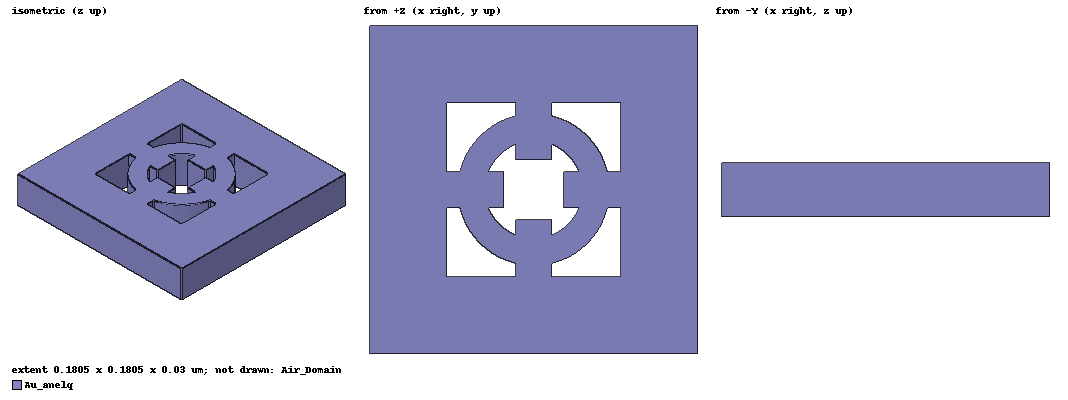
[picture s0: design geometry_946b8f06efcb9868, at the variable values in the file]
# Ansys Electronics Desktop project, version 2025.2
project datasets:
  $eps_Au: (150000000000000, -186.00089) (160000000000000, -163.14213) (170000000000000, -144.11224) (180000000000000, -128.10314) (190000000000000, -114.50826) (200000000000000, -102.86532) (210000000000000, -92.81718) (220000000000000, -84.084412) (230000000000000, -76.445944) (240000000000000, -69.725036) (250000000000000, -63.779041) (260000000000000, -58.491818) (270000000000000, -53.768037) (280000000000000, -49.528859) (290000000000000, -45.70863) (300000000000000, -42.252313) (310000000000000, -39.113494) (320000000000000, -36.252806) (330000000000000, -33.636677) (340000000000000, -31.236338) (350000000000000, -29.027017) (360000000000000, -26.987294) (370000000000000, -25.098569) (380000000000000, -23.344637) (390000000000000, -21.711335) (400000000000000, -20.186253) (410000000000000, -18.7585) (420000000000000, -17.418507) (430000000000000, -16.15788) (440000000000000, -14.969269) (450000000000000, -13.846276) (460000000000000, -12.78338) (470000000000000, -11.775891) (480000000000000, -10.819917) (490000000000000, -9.9123481) (500000000000000, -9.0508547) (510000000000000, -8.2338938) (520000000000000, -7.4607121) (530000000000000, -6.7313416) (540000000000000, -6.0465702) (550000000000000, -5.4078747) (560000000000000, -4.8172964) (570000000000000, -4.2772451) (580000000000000, -3.7902218) (590000000000000, -3.3584655) (600000000000000, -2.9835452) (610000000000000, -2.6659436) (620000000000000, -2.4046951) (630000000000000, -2.197152) (640000000000000, -2.0389375) (650000000000000, -1.9241177) (660000000000000, -1.8455774) (670000000000000, -1.7955412) (680000000000000, -1.7661513) (690000000000000, -1.7500089) (700000000000000, -1.7406041)
  $sig_Au: (150000000000000, 218667.41) (160000000000000, 192168.71) (170000000000000, 170065.67) (180000000000000, 151429.97) (190000000000000, 135565.31) (200000000000000, 121941.52) (210000000000000, 110149.55) (220000000000000, 99870.051) (230000000000000, 90851.031) (240000000000000, 82891.837) (250000000000000, 75831.402) (260000000000000, 69539.575) (270000000000000, 63910.635) (280000000000000, 58858.395) (290000000000000, 54312.48) (300000000000000, 50215.478) (310000000000000, 46520.747) (320000000000000, 43190.739) (330000000000000, 40195.708) (340000000000000, 37512.733) (350000000000000, 35124.989) (360000000000000, 33021.22) (370000000000000, 31195.388) (380000000000000, 29646.453) (390000000000000, 28378.283) (400000000000000, 27399.666) (410000000000000, 26724.406) (420000000000000, 26371.488) (430000000000000, 26365.297) (440000000000000, 26735.841) (450000000000000, 27518.962) (460000000000000, 28756.467) (470000000000000, 30496.106) (480000000000000, 32791.287) (490000000000000, 35700.421) (500000000000000, 39285.697) (510000000000000, 43611.125) (520000000000000, 48739.62) (530000000000000, 54728.934) (540000000000000, 61626.312) (550000000000000, 69461.861) (560000000000000, 78240.9) (570000000000000, 87935.844) (580000000000000, 98478.642) (590000000000000, 109755.15) (600000000000000, 121603.12) (610000000000000, 133815.27) (620000000000000, 146148.59) (630000000000000, 158339.66) (640000000000000, 170124.49) (650000000000000, 181260.31) (660000000000000, 191545.59) (670000000000000, 200835.19) (680000000000000, 209048.35) (690000000000000, 216168.82) (700000000000000, 222238.31)
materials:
  vacuum: permittivity=1
  Au_JC: permittivity="pwl($eps_Au, Freq)" permeability=1 conductivity="pwl($sig_Au, Freq)"
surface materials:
  Steel-oxidised-surface

design geometry_946b8f06efcb9868 (HFSS, HFSS Modal Network, model units um)
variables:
  theta_inc = 0deg
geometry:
  Au_anelq [Au_JC] = box(corner=(-0.090263016um, -0.090263016um, 0um), size=(0.18052603um, 0.18052603um, 0.03um))
  Au_anelq_furo = box(corner=(-0.047763016um, -0.047763016um, 0um), size=(0.095526031um, 0.095526031um, 0.03um))
  Au_anelq.subtract(Au_anelq_furo)
  Au_anelc = cylinder(axis=Z, base_centre=(0um, 0um, 0um), radius=0.041754753um, height=0.03um)
  Au_anelc_furo = cylinder(axis=Z, base_centre=(0um, 0um, 0um), radius=0.026754753um, height=0.03um)
  Au_anelc.subtract(Au_anelc_furo)
  Au_trilha0 = box(corner=(0.016754753um, -0.00975um, 0um), size=(0.052258263um, 0.0195um, 0.03um))
  Au_trilha1 = box(corner=(-0.069013016um, -0.00975um, 0um), size=(0.052258263um, 0.0195um, 0.03um))
  Au_trilha2 = box(corner=(-0.00975um, 0.016754753um, 0um), size=(0.0195um, 0.052258263um, 0.03um))
  Au_trilha3 = box(corner=(-0.00975um, -0.069013016um, 0um), size=(0.0195um, 0.052258263um, 0.03um))
  Au_anelq.unite(Au_anelc, Au_trilha0..Au_trilha3)
  Air_Domain [vacuum] = box(corner=(-0.16um, -0.16um, -1um), size=(0.32um, 0.32um, 2.03um))
  Au_anelq_1 = Au_anelq.copy()
  Air_Domain.subtract(Au_anelq_1)
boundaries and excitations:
  LatticePair_37G77K: Lattice Pair Faces=Air_Domain.face(-x, +x) CoordSysVector{(-0.16, -0.16, -1) -> (-0.16, -0.16, 1.03)} PhaseDelay=UseScanAngle Phi=0deg Theta=theta_inc
  LatticePair_Z6QZBK: Lattice Pair Faces=Air_Domain.face(-y, +y) CoordSysVector{(0.16, -0.16, -1) -> (0.16, -0.16, 1.03)} PhaseDelay=UseScanAngle Phi=0deg Theta=theta_inc
  FloquetCima: Floquet Port Faces=Air_Domain.face(+z) NumModes=4 Modes{Mode1{CharImp=Zpi} Mode2{CharImp=Zpi} Mode3{CharImp=Zpi} Mode4{CharImp=Zpi}} PhaseDelay=UseScanAngle Phi=0deg Theta=theta_inc LatticeAVector{(-0.16, -0.16, 1.03) -> (0.16, -0.16, 1.03)} LatticeBVector{(-0.16, -0.16, 1.03) -> (-0.16, 0.16, 1.03)} ModesCalculator{Frequency=1GHz PhiStart=0deg PhiStop=0deg PhiStep=0deg ThetaStart=0deg ThetaStop=0deg ThetaStep=0deg} ModesList{Mode{ModeNumber=1 IndexM=0 IndexN=0 KC2=0 PropagationState=Undefined Attenuation=0 PolarizationState=TE AffectsRefinement} Mode{ModeNumber=2 IndexM=0 IndexN=0 KC2=0 PropagationState=Undefined Attenuation=0 PolarizationState=TM AffectsRefinement} Mode{ModeNumber=3 IndexM=-1 IndexN=0 KC2=385531421917553 PropagationState=Undefined Attenuation=1.7054704e+08 PolarizationState=TE AffectsRefinement} Mode{ModeNumber=4 IndexM=0 IndexN=-1 KC2=385531421917553 PropagationState=Undefined Attenuation=1.7054704e+08 PolarizationState=TE AffectsRefinement}}
  FloquetBaixo: Floquet Port Faces=Air_Domain.face(-z) NumModes=4 Modes{Mode1{CharImp=Zpi} Mode2{CharImp=Zpi} Mode3{CharImp=Zpi} Mode4{CharImp=Zpi}} PhaseDelay=UseScanAngle Phi=0deg Theta=theta_inc LatticeAVector{(-0.16, -0.16, -1) -> (0.16, -0.16, -1)} LatticeBVector{(-0.16, -0.16, -1) -> (-0.16, 0.16, -1)} ModesCalculator{Frequency=1GHz PhiStart=0deg PhiStop=0deg PhiStep=0deg ThetaStart=0deg ThetaStop=0deg ThetaStep=0deg} ModesList{Mode{ModeNumber=1 IndexM=0 IndexN=0 KC2=0 PropagationState=Undefined Attenuation=0 PolarizationState=TE AffectsRefinement} Mode{ModeNumber=2 IndexM=0 IndexN=0 KC2=0 PropagationState=Undefined Attenuation=0 PolarizationState=TM AffectsRefinement} Mode{ModeNumber=3 IndexM=-1 IndexN=0 KC2=385531421917553 PropagationState=Undefined Attenuation=1.7054704e+08 PolarizationState=TE AffectsRefinement} Mode{ModeNumber=4 IndexM=0 IndexN=-1 KC2=385531421917553 PropagationState=Undefined Attenuation=1.7054704e+08 PolarizationState=TE AffectsRefinement}}
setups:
  Setup1: HfssDriven Frequency=666.2THz MaxDeltaS=0.01 MaximumPasses=15 MinimumPasses=1 MinimumConvergedPasses=1 PercentRefinement=30 BasisOrder=1 PortAccuracy=2 DrivenSolverType="Direct Solver"
    sweep Varredura: 187.4THz to 666.2THz, 401 points; Type=Interpolating InterpTolerance=0.5 InterpMaxSolns=250 PassivityErrorTolerance=0.0001
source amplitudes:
  FloquetCima:1: 1W 0deg
  FloquetCima:2, FloquetCima:3, FloquetCima:4, FloquetBaixo:1..FloquetBaixo:4: 0W 0deg
